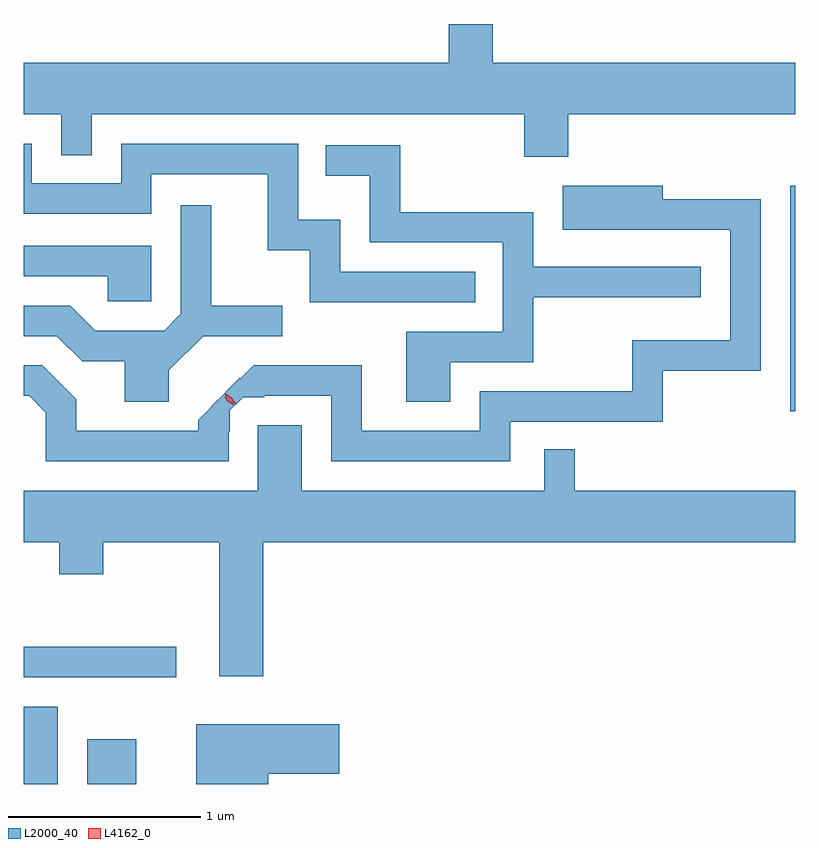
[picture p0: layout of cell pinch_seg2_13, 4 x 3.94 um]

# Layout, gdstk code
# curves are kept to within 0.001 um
import gdstk
lib = gdstk.Library(unit=1e-6, precision=1e-09)
def R(c, l, rs):  # rectangles x0, y0, x1, y1
    for r in rs: c.add(gdstk.rectangle(r[:2], r[2:], *l))
def P(c, l, *ps):  # polygons
    for p in ps: c.add(gdstk.Polygon(p, *l))
L2000_40 = (2000, 40)
L4162_0 = (4162, 0)

pinch_seg2_13 = lib.new_cell('pinch_seg2_13')
R(pinch_seg2_13, L2000_40, [(1734.927,1109.223,1735.104,1109.624), (1735.256,1109.223,1735.509,1109.454), (1734.927,1109.776,1735.718,1109.934), (1738.901,1111.156,1738.927,1112.324)])
P(pinch_seg2_13, L2000_40, [(1737.749,1112.696),(1738.927,1112.696),(1738.927,1112.964),(1737.359,1112.964),(1737.359,1113.164),(1737.131,1113.164),(1737.131,1112.964),(1734.927,1112.964),(1734.927,1112.696),(1735.121,1112.696),(1735.121,1112.483),(1735.279,1112.483),(1735.279,1112.696),(1737.521,1112.696),(1737.521,1112.476),(1737.749,1112.476)],
  [(1737.268,1111.879),(1736.569,1111.879),(1736.569,1112.149),(1736.349,1112.149),(1736.349,1112.544),(1735.431,1112.544),(1735.431,1112.339),(1734.969,1112.339),(1734.969,1112.544),(1734.927,1112.544),(1734.927,1112.181),(1735.589,1112.181),(1735.589,1112.386),(1736.191,1112.386),(1736.191,1111.991),(1736.411,1111.991),(1736.411,1111.721),(1737.268,1111.721)],
  [(1737.139,1111.411),(1737.569,1111.411),(1737.569,1111.746),(1738.438,1111.746),(1738.438,1111.904),(1737.569,1111.904),(1737.569,1112.189),(1736.879,1112.189),(1736.879,1112.534),(1736.493,1112.534),(1736.493,1112.376),(1736.721,1112.376),(1736.721,1112.031),(1737.411,1112.031),(1737.411,1111.569),(1736.911,1111.569),(1736.911,1111.206),(1737.139,1111.206)],
  [(1735.989,1111.05),(1735.996,1111.05),(1735.996,1111.161),(1736.064,1111.229),(1736.175,1111.229),(1736.175,1111.236),(1736.521,1111.236),(1736.521,1110.896),(1737.449,1110.896),(1737.449,1111.101),(1738.239,1111.101),(1738.239,1111.366),(1738.749,1111.366),(1738.749,1112.254),(1738.239,1112.254),(1738.239,1112.324),(1737.721,1112.324),(1737.721,1112.096),(1738.591,1112.096),(1738.591,1111.524),(1738.081,1111.524),(1738.081,1111.259),(1737.291,1111.259),(1737.291,1111.054),(1736.679,1111.054),(1736.679,1111.394),(1736.119,1111.394),(1736.05,1111.325),(1736.047,1111.329),(1735.897,1111.178),(1735.899,1111.176),(1735.831,1111.108),(1735.831,1111.054),(1735.199,1111.054),(1735.199,1111.217),(1735.022,1111.394),(1734.927,1111.394),(1734.927,1111.236),(1734.954,1111.236),(1735.041,1111.149),(1735.041,1110.896),(1735.989,1110.896)],
  [(1735.679,1111.369),(1735.857,1111.546),(1736.268,1111.546),(1736.268,1111.704),(1735.899,1111.704),(1735.899,1112.223),(1735.741,1112.223),(1735.741,1111.662),(1735.654,1111.574),(1735.297,1111.574),(1735.167,1111.704),(1734.927,1111.704),(1734.927,1111.546),(1735.099,1111.546),(1735.229,1111.416),(1735.451,1111.416),(1735.451,1111.206),(1735.679,1111.206)],
  [(1735.589,1112.014),(1734.927,1112.014),(1734.927,1111.856),(1735.361,1111.856),(1735.361,1111.726),(1735.589,1111.726)],
  [(1736.169,1110.476),(1738.927,1110.476),(1738.927,1110.744),(1737.784,1110.744),(1737.784,1110.958),(1737.626,1110.958),(1737.626,1110.744),(1736.369,1110.744),(1736.369,1111.084),(1736.141,1111.084),(1736.141,1110.744),(1734.927,1110.744),(1734.927,1110.476),(1735.111,1110.476),(1735.111,1110.311),(1735.339,1110.311),(1735.339,1110.476),(1735.941,1110.476),(1735.941,1109.781),(1736.169,1109.781)],
  [(1736.194,1109.276),(1736.564,1109.276),(1736.564,1109.534),(1735.821,1109.534),(1735.821,1109.223),(1736.194,1109.223)])
P(pinch_seg2_13, L4162_0, [(1736.028,1111.192),(1735.992,1111.213),(1735.97,1111.247),(1735.97,1111.248),(1735.971,1111.248),(1736.006,1111.227),(1736.028,1111.192),(1736.028,1111.192)],
  [(1736.015,1111.188),(1735.984,1111.204),(1735.966,1111.234),(1735.966,1111.234),(1735.967,1111.234),(1735.998,1111.219),(1736.016,1111.189),(1736.016,1111.188)])

lib.write_gds('pinch_seg2_13.gds')
